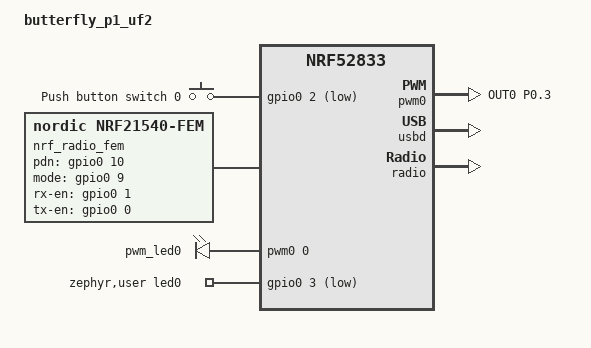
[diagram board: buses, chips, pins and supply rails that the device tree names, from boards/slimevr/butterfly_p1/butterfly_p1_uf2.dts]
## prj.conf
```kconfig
#CONFIG_NCS_SAMPLES_DEFAULTS
CONFIG_ASSERT=y
CONFIG_ASSERT_NO_COND_INFO=y
CONFIG_ASSERT_NO_MSG_INFO=y
CONFIG_RESET_ON_FATAL_ERROR=y

CONFIG_NCS_APPLICATION_BOOT_BANNER_STRING="SlimeVR-Tracker-nRF-Receiver"
#CONFIG_NCS_BOOT_BANNER=n
CONFIG_BOOT_BANNER=n

CONFIG_ESB=y
CONFIG_NEWLIB_LIBC=y
CONFIG_CBPRINTF_FP_SUPPORT=y

CONFIG_FPU=y

CONFIG_USB_DEVICE_STACK=y
CONFIG_USB_DEVICE_HID=y
CONFIG_USB_DEVICE_VID=0x1209
CONFIG_USB_DEVICE_PID=0x7690
CONFIG_USB_HID_BOOT_PROTOCOL=y
CONFIG_USB_DEVICE_INITIALIZE_AT_BOOT=n
CONFIG_USB_CDC_ACM=y
CONFIG_UART_INTERRUPT_DRIVEN=y
#CONFIG_USB_WORKQUEUE_STACK_SIZE=512

CONFIG_SERIAL=y
CONFIG_CONSOLE=y
CONFIG_UART_CONSOLE=y
CONFIG_UART_LINE_CTRL=y

CONFIG_USE_SEGGER_RTT=y
CONFIG_LOG=y
#CONFIG_PRINTK=y
CONFIG_LOG_MODE_DEFERRED=y
CONFIG_LOG_SPEED=y
CONFIG_LOG_BACKEND_RTT=y
CONFIG_USB_DRIVER_LOG_LEVEL_WRN=y
CONFIG_USB_DEVICE_LOG_LEVEL_WRN=y
CONFIG_USB_CDC_ACM_LOG_LEVEL_OFF=y
CONFIG_LOG_PROCESS_THREAD_SLEEP_MS=100
CONFIG_LOG_PROCESS_THREAD_STACK_SIZE=1024
CONFIG_LOG_PROCESS_THREAD_STARTUP_DELAY_MS=0

CONFIG_LOG_BACKEND_UART=y
CONFIG_LOG_MODE_DEFERRED=y

CONFIG_CONSOLE_SUBSYS=y
CONFIG_CONSOLE_GETLINE=y

CONFIG_NVS_LOG_LEVEL_WRN=y
CONFIG_USB_HID_LOG_LEVEL_WRN=y

CONFIG_USB_DEVICE_SOF=y
CONFIG_USB_HID_REPORTS=256

CONFIG_USB_HID_POLL_INTERVAL_MS=1
CONFIG_HID_INTERRUPT_EP_MPS=64
CONFIG_ENABLE_HID_INT_OUT_EP=y

CONFIG_GPIO=y
CONFIG_PWM=y

CONFIG_NVS=y

CONFIG_FLASH=y
CONFIG_FLASH_PAGE_LAYOUT=y
CONFIG_FLASH_MAP=y

CONFIG_SETTINGS=y
CONFIG_SETTINGS_NVS=y
CONFIG_SETTINGS_RUNTIME=y
CONFIG_SETTINGS_NONE=y

CONFIG_MPU_ALLOW_FLASH_WRITE=y

CONFIG_NVS_LOOKUP_CACHE=y

CONFIG_ESB_TX_FIFO_SIZE=1
# deprecated?
CONFIG_NRFX_TIMER1=y

#speed up boot? (use internal rc oscillator)
#CONFIG_CLOCK_CONTROL_NRF_K32SRC_RC=y
#speed up boot? (synthesize lf clock)
CONFIG_CLOCK_CONTROL_NRF_K32SRC_SYNTH=y

# dont need it
CONFIG_CRYPTO=n

CONFIG_THREAD_NAME=y
#CONFIG_SYSTEM_WORKQUEUE_STACK_SIZE=256
CONFIG_MAIN_STACK_SIZE=512

#CONFIG_HEAP_MEM_POOL_SIZE=2048
CONFIG_ISR_STACK_SIZE=1024
```

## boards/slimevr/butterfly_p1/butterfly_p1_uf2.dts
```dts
// Copyright (c) 2024 Nordic Semiconductor ASA
// SPDX-License-Identifier: Apache-2.0

/dts-v1/;
#include <nordic/nrf52833_qiaa.dtsi>

//move to dtsi?
&pinctrl {
	pwm0_default: pwm0_default {
		group1 {
			psels = <NRF_PSEL(PWM_OUT0, 0, 3)>;
			nordic,drive-mode = <NRF_DRIVE_D0S1>;
			nordic,invert;
		};
	};

	pwm0_sleep: pwm0_sleep {
		group1 {
			psels = <NRF_PSEL(PWM_OUT0, 0, 3)>;
			low-power-enable;
		};
	};
};
//end

/ {
	model = "butterfly_p1_uf2";
	compatible = "butterfly_p1_uf2";

	aliases {
		sw0 = &button0;
		pwm-led0 = &pwm_led0;
	};

	buttons {
		compatible = "gpio-keys";
		button0: button_0 {
			gpios = <&gpio0 2 (GPIO_PULL_UP | GPIO_ACTIVE_LOW)>;
			label = "Push button switch 0";
		};
	};

	chosen {
		zephyr,sram = &sram0;
		zephyr,flash = &flash0;
		zephyr,console = &cdc_acm_uart0;
		zephyr,shell-uart = &cdc_acm_uart0;
	};

	nrf_radio_fem: nrf21540_fem {
		compatible = "nordic,nrf21540-fem";
		supply-voltage-mv = <3000>;
		pdn-gpios = <&gpio0 10 GPIO_ACTIVE_HIGH>;
		mode-gpios = <&gpio0 9 GPIO_ACTIVE_HIGH>;
		rx-en-gpios = <&gpio0 1 GPIO_ACTIVE_HIGH>;
		tx-en-gpios = <&gpio0 0 GPIO_ACTIVE_HIGH>;
		// TRX (Transmit/Receive Select)
		// trx-gpios = <&gpio0 17 GPIO_ACTIVE_HIGH>;
	};

	pwmleds {
		compatible = "pwm-leds";
		pwm_led0: pwm_led_0 {
			pwms = <&pwm0 0 PWM_MSEC(1) PWM_POLARITY_INVERTED>;
		};
	};

	zephyr,user {
		led0-gpios = <&gpio0 3 (GPIO_OPEN_DRAIN | GPIO_ACTIVE_LOW)>;
	};
};

&gpiote {
	status = "okay";
};

&gpio0 {
	status = "okay";
};

&gpio1 {
	status = "okay";
};

&pwm0 {
	status = "okay";
	pinctrl-0 = <&pwm0_default>;
	pinctrl-1 = <&pwm0_sleep>;
	pinctrl-names = "default", "sleep";
};

zephyr_udc0: &usbd {
	compatible = "nordic,nrf-usbd";
	status = "okay";
	cdc_acm_uart0: cdc_acm_uart0 {
		compatible = "zephyr,cdc-acm-uart";
	};
};

&nfct {
	status = "disabled";
};

&radio {
	fem = <&nrf_radio_fem>;
};
```

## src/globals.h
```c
/*
	SlimeVR Code is placed under the MIT license
	Copyright (c) 2025 SlimeVR Contributors

	Permission is hereby granted, free of charge, to any person obtaining a copy
	of this software and associated documentation files (the "Software"), to deal
	in the Software without restriction, including without limitation the rights
	to use, copy, modify, merge, publish, distribute, sublicense, and/or sell
	copies of the Software, and to permit persons to whom the Software is
	furnished to do so, subject to the following conditions:

	The above copyright notice and this permission notice shall be included in
	all copies or substantial portions of the Software.

	THE SOFTWARE IS PROVIDED "AS IS", WITHOUT WARRANTY OF ANY KIND, EXPRESS OR
	IMPLIED, INCLUDING BUT NOT LIMITED TO THE WARRANTIES OF MERCHANTABILITY,
	FITNESS FOR A PARTICULAR PURPOSE AND NONINFRINGEMENT. IN NO EVENT SHALL THE
	AUTHORS OR COPYRIGHT HOLDERS BE LIABLE FOR ANY CLAIM, DAMAGES OR OTHER
	LIABILITY, WHETHER IN AN ACTION OF CONTRACT, TORT OR OTHERWISE, ARISING FROM,
	OUT OF OR IN CONNECTION WITH THE SOFTWARE OR THE USE OR OTHER DEALINGS IN
	THE SOFTWARE.
*/
#ifndef SLIMENRF_GLOBALS
#define SLIMENRF_GLOBALS

#include <zephyr/logging/log.h>

#include "retained.h"

#ifndef CONFIG_SOC_NRF52820
#define MAX_TRACKERS 256
#else
#define MAX_TRACKERS 24
#endif

// How many packets to receive from one ID in a second before we consider it valid
#define DETECTION_THRESHOLD 3

// TODO: move to esb
extern uint8_t stored_trackers;
extern uint64_t stored_tracker_addr[MAX_TRACKERS];

#endif
```
